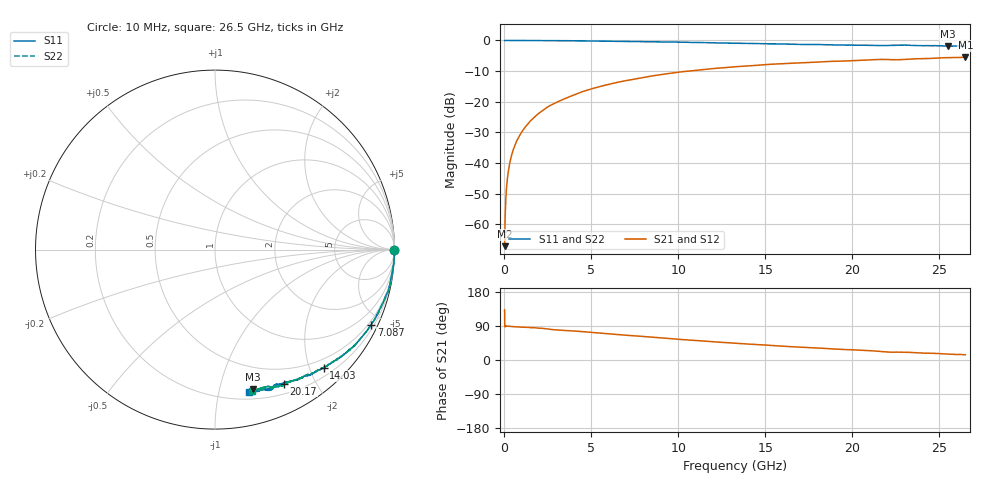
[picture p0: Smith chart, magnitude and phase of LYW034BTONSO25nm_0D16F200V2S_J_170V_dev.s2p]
!Keysight Technologies,N5222B,MY61253708,A.15.00.15
!Date: Wednesday, June 19, 2024 10:23:23
!Correction: S11(C  2-Port  )
!S21(C  2-Port  )
!S12(C  2-Port  )
!S22(C  2-Port  )
!S2P File: Measurements: S11, S21, S12, S22:
# Hz S  RI  R 50
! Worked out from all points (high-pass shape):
!   2651 points, 10 MHz to 26.5 GHz, reference 50 ohm
!   highest |S21| = -5.44 dB at 26.5 GHz (marker M1); lowest = -67.1 dB at 10 MHz (marker M2)
!   |S21| within 3 dB of the highest: 13.58029 GHz to 13.60624 GHz (25.95 MHz wide, 0.191 % of centre); 13.62 GHz to end of sweep
!   lowest |S11| = -1.9 dB at 25.5 GHz (marker M3), VSWR 9.24, Z = 14.4 - j63.4 ohm
!   |S11| at or under -10 dB: nowhere
!   |S22| runs from -1.8 to 0.0 dB; largest |S21 - S12| = 0.0062
!   S11 on the Smith chart (normalised r, x): 10 MHz: open; 7.087 GHz: 0.35, -4.36; 14.03 GHz: 0.34, -2.24; 20.17 GHz: 0.31, -1.59; 26.5 GHz: 0.26, -1.24
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1e7  0.9985 -0.00308  -0.000296 0.000326  3.32e-05 0.000269  0.9987 -0.00147
7.997358e7  0.9999 -0.00565  1.61e-05 0.00262  8.43e-06 0.0026  0.9994 -0.00511
1.599434e8  0.9999 -0.0112  6.22e-05 0.00521  4.16e-05 0.00522  0.9997 -0.0103
1.999283e8  1 -0.0133  9.83e-05 0.0065  0.000106 0.00652  0.9998 -0.0125
2.599057e8  0.9996 -0.0175  0.000137 0.00845  0.000173 0.00848  0.9997 -0.0164
3.598679e8  0.9995 -0.0242  0.000263 0.0117  0.000249 0.0117  0.9997 -0.0233
4.898189e8  0.9987 -0.0325  0.000494 0.0159  0.000516 0.0159  0.9985 -0.0312
6.497585e8  0.9985 -0.0426  0.000883 0.0211  0.000845 0.0211  0.9987 -0.0409
8.296906e8  0.9979 -0.0545  0.00141 0.0268  0.00143 0.0269  0.9979 -0.0533
1.449457e9  0.991 -0.0961  0.00333 0.0471  0.00336 0.0471  0.9933 -0.0918
2.339121e9  0.9823 -0.15  0.00963 0.0767  0.00977 0.0768  0.9837 -0.1493
3.218789e9  0.9717 -0.2056  0.0205 0.1025  0.0205 0.1027  0.9729 -0.2033
4.428332e9  0.9444 -0.277  0.0371 0.1393  0.0371 0.1395  0.9467 -0.2729
7.087328e9  0.8703 -0.4184  0.0947 0.2029  0.0953 0.203  0.8728 -0.4148
8.846664e9  0.8085 -0.498  0.1409 0.2342  0.1417 0.2342  0.8117 -0.4941
1.3255e10  0.6356 -0.6395  0.266 0.2601  0.2676 0.2595  0.642 -0.636
1.403471e10  0.6062 -0.6593  0.2866 0.2584  0.2874 0.2577  0.6113 -0.6521
1.767333e10  0.4654 -0.7214  0.3718 0.2348  0.3745 0.233  0.4791 -0.7171
2.017239e10  0.3845 -0.7466  0.4203 0.2092  0.4224 0.2066  0.4011 -0.7443
2.209166e10  0.3305 -0.7569  0.4552 0.1748  0.4565 0.1719  0.3282 -0.7621
2.550038e10  0.2109 -0.7765  0.5052 0.1392  0.5062 0.1389  0.235 -0.7787
2.65e10  0.1914 -0.791  0.5188 0.1283  0.5178 0.1244  0.2084 -0.789
